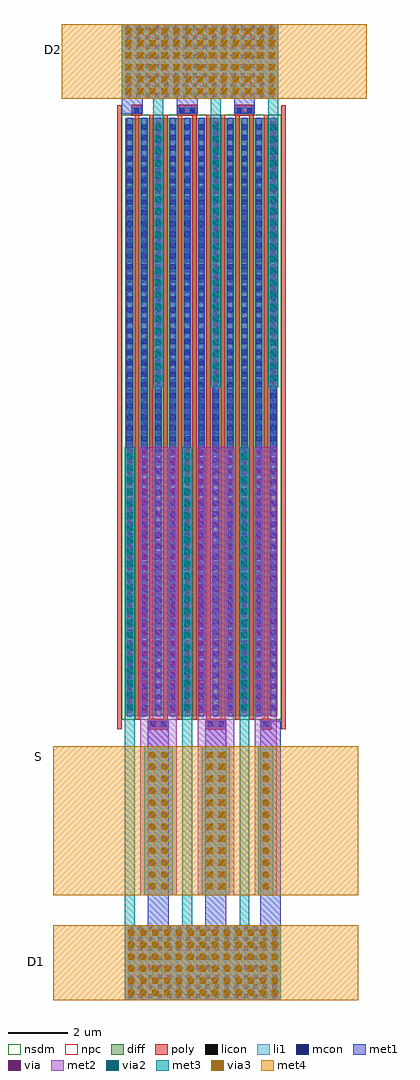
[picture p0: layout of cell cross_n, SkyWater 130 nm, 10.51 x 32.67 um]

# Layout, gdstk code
import gdstk
lib = gdstk.Library(unit=1e-6, precision=1e-09)
def R(c, l, rs):  # rectangles x0, y0, x1, y1
    for r in rs: c.add(gdstk.rectangle(r[:2], r[2:], *l))
def A(c, l, x, y, w, h, nx, ny, dx, dy):  # array of equal rectangles
    R(c, l, [(x+i*dx, y+j*dy, x+i*dx+w, y+j*dy+h) for i in range(nx) for j in range(ny)])
def P(c, l, *ps):  # polygons
    for p in ps: c.add(gdstk.Polygon(p, *l))
diff = (65, 20)
poly = (66, 20)
licon = (66, 44)
li1 = (67, 20)
mcon = (67, 44)
met1 = (68, 20)
via = (68, 44)
met2 = (69, 20)
via2 = (69, 44)
met3 = (70, 20)
via3 = (70, 44)
met4 = (71, 20)
nsdm = (93, 44)
npc = (95, 20)

cross_n = lib.new_cell('cross_n')
R(cross_n, diff, [(0,0.44,5.09,20.44)])
R(cross_n, poly, [(-0.27,0,-0.12,20.88), (0.77,0,1.44,0.33), (0.79,0,0.94,20.57), (2.69,0,3.36,0.33), (4.54,0,4.87,0.33), (4.54,0,4.87,0.33), (5.21,0,5.36,20.88), (0.31,0.31,0.46,20.57), (1.75,0.31,1.9,20.57), (2.23,0.31,2.38,20.57), (3.67,0.31,3.82,20.57), (4.15,0.31,4.3,20.57), (1.27,0.33,1.42,20.57), (2.71,0.33,2.86,20.57), (3.19,0.33,3.34,20.57), (4.63,0.33,4.78,20.57), (0.22,20.55,0.55,20.88), (1.73,20.55,2.4,20.88), (3.65,20.55,4.32,20.88)])
A(cross_n, licon, 0.06, 0.665, 0.17, 0.17, 11, 58, 0.48, 0.34)
R(cross_n, licon, [(0.85,0.08,1.02,0.25), (1.19,0.08,1.36,0.25), (2.77,0.08,2.94,0.25), (3.11,0.08,3.28,0.25), (4.62,0.08,4.79,0.25), (0.3,20.63,0.47,20.8), (1.81,20.63,1.98,20.8), (2.15,20.63,2.32,20.8), (3.73,20.63,3.9,20.8), (4.07,20.63,4.24,20.8)])
A(cross_n, li1, 0.06, 0.42, 0.17, 20.04, 11, 1, 0.48, 0)
R(cross_n, li1, [(0.77,0.08,1.44,0.25), (2.69,0.08,3.36,0.25), (4.54,0.08,4.87,0.25), (0.22,20.63,0.55,20.8), (1.73,20.63,2.4,20.8), (3.65,20.63,4.32,20.8)])
A(cross_n, mcon, 0.06, 0.635, 0.17, 0.17, 11, 55, 0.48, 0.36)
R(cross_n, mcon, [(0.84,0.08,1.01,0.25), (1.2,0.08,1.37,0.25), (2.76,0.08,2.93,0.25), (3.12,0.08,3.29,0.25), (4.62,0.08,4.79,0.25), (0.3,20.63,0.47,20.8), (1.8,20.63,1.97,20.8), (2.16,20.63,2.33,20.8), (3.72,20.63,3.89,20.8), (4.08,20.63,4.25,20.8)])
A(cross_n, met1, 0.03, 0.44, 0.23, 20, 4, 1, 0.48, 0)
A(cross_n, met1, 1.47, 0.44, 0.23, 20, 3, 1, 0.48, 0)
A(cross_n, met1, 2.43, 0.44, 0.23, 20, 3, 1, 0.48, 0)
A(cross_n, met1, 3.39, 0.44, 0.23, 20, 3, 1, 0.48, 0)
R(cross_n, met1, [(0.755,-7.818,1.455,0.28), (4.505,-7.546,5.205,0.28), (2.675,-7.533,3.375,0.28), (2.675,-2.066,3.375,0.28), (2.675,-2.066,3.375,0.28), (4.35,0.44,4.58,20.44), (4.83,0.44,5.06,20.44), (-0.115,20.6,0.585,22.946), (1.715,20.6,2.415,22.946), (3.635,20.6,4.335,22.946)])
A(cross_n, via, 0.117, -9.011, 0.15, 0.15, 16, 8, 0.32, 0.32)
A(cross_n, via, 0.07, 0.545, 0.15, 0.15, 1, 28, 0, 0.32)
A(cross_n, via, 0.55, 0.545, 0.15, 0.15, 1, 28, 0, 0.32)
A(cross_n, via, 1.51, 0.545, 0.15, 0.15, 3, 28, 0.48, 0.32)
A(cross_n, via, 3.43, 0.545, 0.15, 0.15, 3, 28, 0.48, 0.32)
A(cross_n, via, 1.03, 11.545, 0.15, 0.15, 3, 28, 1.92, 0.32)
A(cross_n, via, 0.022, 21.155, 0.15, 0.15, 16, 8, 0.32, 0.32)
P(cross_n, met2, [(0.495,-5.566),(0.495,0.44),(0.755,0.44),(0.755,9.44),(1.455,9.44),(1.455,0.44),(1.715,0.44),(1.715,-5.566)],
  [(2.415,-5.566),(2.415,0.44),(2.675,0.44),(2.675,9.44),(3.375,9.44),(3.375,0.44),(3.635,0.44),(3.635,-5.566)],
  [(4.335,-5.566),(4.335,0.44),(4.595,0.44),(4.595,9.44),(5.065,9.44),(5.065,0.44),(5.065,0.44),(5.065,-5.566),(4.805,-5.566),(4.805,-0.566),(4.595,-0.566),(4.595,-5.566)])
A(cross_n, via2, 0.092, -8.916, 0.2, 0.2, 13, 6, 0.4, 0.4)
A(cross_n, via2, 2.725, -5.366, 0.2, 0.2, 1, 12, 0, 0.4)
A(cross_n, via2, 3.125, -5.366, 0.2, 0.2, 1, 12, 0, 0.4)
A(cross_n, via2, 4.6, -5.366, 0.2, 0.2, 1, 12, 0, 0.4)
A(cross_n, via2, 0.045, 0.64, 0.2, 0.2, 3, 22, 1.92, 0.4)
A(cross_n, via2, 1.005, 11.64, 0.2, 0.2, 3, 22, 1.92, 0.4)
A(cross_n, via2, -0.003, 21.25, 0.2, 0.2, 13, 6, 0.4, 0.4)
R(cross_n, via2, [(0.805,-5.366,1.005,-5.166), (0.805,-5.366,1.005,-5.166), (1.205,-5.366,1.405,-5.166), (1.205,-5.366,1.405,-5.166), (0.805,-4.966,1.005,-4.766), (0.805,-4.966,1.005,-4.766), (1.205,-4.966,1.405,-4.766), (1.205,-4.966,1.405,-4.766), (0.805,-4.566,1.005,-4.366), (0.805,-4.566,1.005,-4.366), (1.205,-4.566,1.405,-4.366), (1.205,-4.566,1.405,-4.366), (0.805,-4.166,1.005,-3.966), (0.805,-4.166,1.005,-3.966), (1.205,-4.166,1.405,-3.966), (1.205,-4.166,1.405,-3.966), (0.805,-3.766,1.005,-3.566), (0.805,-3.766,1.005,-3.566), (1.205,-3.766,1.405,-3.566), (1.205,-3.766,1.405,-3.566), (0.805,-3.366,1.005,-3.166), (0.805,-3.366,1.005,-3.166), (1.205,-3.366,1.405,-3.166), (1.205,-3.366,1.405,-3.166), (0.805,-2.966,1.005,-2.766), (0.805,-2.966,1.005,-2.766), (1.205,-2.966,1.405,-2.766), (1.205,-2.966,1.405,-2.766), (0.805,-2.566,1.005,-2.366), (0.805,-2.566,1.005,-2.366), (1.205,-2.566,1.405,-2.366), (1.205,-2.566,1.405,-2.366), (0.805,-2.166,1.005,-1.966), (0.805,-2.166,1.005,-1.966), (1.205,-2.166,1.405,-1.966), (1.205,-2.166,1.405,-1.966), (0.805,-1.766,1.005,-1.566), (0.805,-1.766,1.005,-1.566), (1.205,-1.766,1.405,-1.566), (1.205,-1.766,1.405,-1.566), (0.805,-1.366,1.005,-1.166), (0.805,-1.366,1.005,-1.166), (1.205,-1.366,1.405,-1.166), (1.205,-1.366,1.405,-1.166), (0.805,-0.966,1.005,-0.766), (0.805,-0.966,1.005,-0.766), (1.205,-0.966,1.405,-0.766), (1.205,-0.966,1.405,-0.766)])
A(cross_n, met3, 0.94, 20.44, 0.33, 2.506, 3, 1, 1.92, 0)
R(cross_n, met3, [(-0.02,-7.43,0.31,0.44), (1.9,-7.352,2.23,0.44), (3.82,-7.249,4.15,0.44), (-0.02,-1.066,0.31,0.44), (-0.02,-1.066,0.31,0.44), (-0.02,-1.066,0.31,0.44), (1.9,-1.066,2.23,0.44), (1.9,-1.066,2.23,0.44), (1.9,-1.066,2.23,0.44), (3.82,-1.066,4.15,0.44), (3.82,-1.066,4.15,0.44), (3.82,-1.066,4.15,0.44), (0.94,20.44,1.27,21.946), (0.94,20.44,1.27,21.946), (0.94,20.44,1.27,21.946), (2.86,20.44,3.19,21.946), (2.86,20.44,3.19,21.946), (2.86,20.44,3.19,21.946), (4.78,20.44,5.11,21.946), (4.78,20.44,5.11,21.946), (4.78,20.44,5.11,21.946)])
A(cross_n, via3, 0.092, -8.916, 0.2, 0.2, 13, 6, 0.4, 0.4)
A(cross_n, via3, 2.725, -5.366, 0.2, 0.2, 1, 12, 0, 0.4)
A(cross_n, via3, 3.125, -5.366, 0.2, 0.2, 1, 12, 0, 0.4)
A(cross_n, via3, 4.6, -5.366, 0.2, 0.2, 1, 12, 0, 0.4)
A(cross_n, via3, -0.003, 21.25, 0.2, 0.2, 13, 6, 0.4, 0.4)
R(cross_n, via3, [(0.805,-5.366,1.005,-5.166), (0.805,-5.366,1.005,-5.166), (1.205,-5.366,1.405,-5.166), (1.205,-5.366,1.405,-5.166), (0.805,-4.966,1.005,-4.766), (0.805,-4.966,1.005,-4.766), (1.205,-4.966,1.405,-4.766), (1.205,-4.966,1.405,-4.766), (0.805,-4.566,1.005,-4.366), (0.805,-4.566,1.005,-4.366), (1.205,-4.566,1.405,-4.366), (1.205,-4.566,1.405,-4.366), (0.805,-4.166,1.005,-3.966), (0.805,-4.166,1.005,-3.966), (1.205,-4.166,1.405,-3.966), (1.205,-4.166,1.405,-3.966), (0.805,-3.766,1.005,-3.566), (0.805,-3.766,1.005,-3.566), (1.205,-3.766,1.405,-3.566), (1.205,-3.766,1.405,-3.566), (0.805,-3.366,1.005,-3.166), (0.805,-3.366,1.005,-3.166), (1.205,-3.366,1.405,-3.166), (1.205,-3.366,1.405,-3.166), (0.805,-2.966,1.005,-2.766), (0.805,-2.966,1.005,-2.766), (1.205,-2.966,1.405,-2.766), (1.205,-2.966,1.405,-2.766), (0.805,-2.566,1.005,-2.366), (0.805,-2.566,1.005,-2.366), (1.205,-2.566,1.405,-2.366), (1.205,-2.566,1.405,-2.366), (0.805,-2.166,1.005,-1.966), (0.805,-2.166,1.005,-1.966), (1.205,-2.166,1.405,-1.966), (1.205,-2.166,1.405,-1.966), (0.805,-1.766,1.005,-1.566), (0.805,-1.766,1.005,-1.566), (1.205,-1.766,1.405,-1.566), (1.205,-1.766,1.405,-1.566), (0.805,-1.366,1.005,-1.166), (0.805,-1.366,1.005,-1.166), (1.205,-1.366,1.405,-1.166), (1.205,-1.366,1.405,-1.166), (0.805,-0.966,1.005,-0.766), (0.805,-0.966,1.005,-0.766), (1.205,-0.966,1.405,-0.766), (1.205,-0.966,1.405,-0.766)])
R(cross_n, nsdm, [(-0.125,0.315,5.215,20.565)])
R(cross_n, npc, [(0.77,-0.02,1.44,0.35), (2.69,-0.02,3.36,0.35), (4.52,-0.02,4.89,0.35), (0.2,20.53,0.57,20.9), (1.73,20.53,2.4,20.9), (3.65,20.53,4.32,20.9)])
cross_n.add(gdstk.FlexPath([(1.105,20.44),(1.105,11.44)], 0.33, ends="flush", simple_path=True, layer=70, datatype=20))  # met3
cross_n.add(gdstk.FlexPath([(-0.02,-7.816),(5.205,-7.816)], 2.5, ends="flush", simple_path=True, layer=70, datatype=20))  # met3
cross_n.add(gdstk.FlexPath([(3.025,20.44),(3.025,11.44)], 0.33, ends="flush", simple_path=True, layer=70, datatype=20))  # met3
cross_n.add(gdstk.FlexPath([(4.945,20.44),(4.945,11.44)], 0.33, ends="flush", simple_path=True, layer=70, datatype=20))  # met3
cross_n.add(gdstk.FlexPath([(0.145,0.44),(0.145,9.44)], 0.33, ends="flush", simple_path=True, layer=70, datatype=20))  # met3
cross_n.add(gdstk.FlexPath([(2.065,0.44),(2.065,9.44)], 0.33, ends="flush", simple_path=True, layer=70, datatype=20))  # met3
cross_n.add(gdstk.FlexPath([(3.985,0.44),(3.985,9.44)], 0.33, ends="flush", simple_path=True, layer=70, datatype=20))  # met3
cross_n.add(gdstk.FlexPath([(1.105,-0.566),(1.105,-5.566)], 0.95, ends="flush", simple_path=True, layer=70, datatype=20))  # met3
cross_n.add(gdstk.FlexPath([(1.105,-0.566),(1.105,-5.566)], 0.95, ends="flush", simple_path=True, layer=70, datatype=20))  # met3
cross_n.add(gdstk.FlexPath([(3.025,-0.566),(3.025,-5.566)], 0.95, ends="flush", simple_path=True, layer=70, datatype=20))  # met3
cross_n.add(gdstk.FlexPath([(4.7,-0.566),(4.7,-5.566)], 0.5, ends="flush", simple_path=True, layer=70, datatype=20))  # met3
cross_n.add(gdstk.FlexPath([(-0.115,22.35),(5.11,22.35)], 2.5, ends="flush", simple_path=True, layer=70, datatype=20))  # met3
cross_n.add(gdstk.FlexPath([(-2.126,22.35),(8.086,22.35)], 2.5, ends="flush", simple_path=True, layer=71, datatype=20))  # met4
cross_n.add(gdstk.FlexPath([(-2.423,-3.066),(7.789,-3.066)], 5, ends="flush", simple_path=True, layer=71, datatype=20))  # met4
cross_n.add(gdstk.FlexPath([(-0.02,-7.816),(5.205,-7.816)], 2.5, ends="flush", simple_path=True, layer=71, datatype=20))  # met4
cross_n.add(gdstk.FlexPath([(1.105,-0.566),(1.105,-5.566)], 0.95, ends="flush", simple_path=True, layer=71, datatype=20))  # met4
cross_n.add(gdstk.FlexPath([(1.105,-0.566),(1.105,-5.566)], 0.95, ends="flush", simple_path=True, layer=71, datatype=20))  # met4
cross_n.add(gdstk.FlexPath([(3.025,-0.566),(3.025,-5.566)], 0.95, ends="flush", simple_path=True, layer=71, datatype=20))  # met4
cross_n.add(gdstk.FlexPath([(4.7,-0.566),(4.7,-5.566)], 0.5, ends="flush", simple_path=True, layer=71, datatype=20))  # met4
cross_n.add(gdstk.FlexPath([(-0.115,22.35),(5.11,22.35)], 2.5, ends="flush", simple_path=True, layer=71, datatype=20))  # met4
cross_n.add(gdstk.FlexPath([(-2.423,-7.816),(7.789,-7.816)], 2.5, ends="flush", simple_path=True, layer=71, datatype=20))  # met4
cross_n.add(gdstk.FlexPath([(0.625,9.44),(0.625,0.44)], 0.26, ends="flush", simple_path=True, layer=69, datatype=20))  # met2
cross_n.add(gdstk.FlexPath([(1.585,9.44),(1.585,0.44)], 0.26, ends="flush", simple_path=True, layer=69, datatype=20))  # met2
cross_n.add(gdstk.FlexPath([(2.545,9.44),(2.545,0.44)], 0.26, ends="flush", simple_path=True, layer=69, datatype=20))  # met2
cross_n.add(gdstk.FlexPath([(3.505,9.44),(3.505,0.44)], 0.26, ends="flush", simple_path=True, layer=69, datatype=20))  # met2
cross_n.add(gdstk.FlexPath([(4.465,9.44),(4.465,0.44)], 0.26, ends="flush", simple_path=True, layer=69, datatype=20))  # met2
cross_n.add(gdstk.FlexPath([(1.105,20.44),(1.105,11.44)], 0.33, ends="flush", simple_path=True, layer=69, datatype=20))  # met2
cross_n.add(gdstk.FlexPath([(-0.02,-7.816),(5.205,-7.816)], 2.5, ends="flush", simple_path=True, layer=69, datatype=20))  # met2
cross_n.add(gdstk.FlexPath([(3.025,20.44),(3.025,11.44)], 0.33, ends="flush", simple_path=True, layer=69, datatype=20))  # met2
cross_n.add(gdstk.FlexPath([(4.945,20.44),(4.945,11.44)], 0.33, ends="flush", simple_path=True, layer=69, datatype=20))  # met2
cross_n.add(gdstk.FlexPath([(0.145,0.44),(0.145,9.44)], 0.33, ends="flush", simple_path=True, layer=69, datatype=20))  # met2
cross_n.add(gdstk.FlexPath([(2.065,0.44),(2.065,9.44)], 0.33, ends="flush", simple_path=True, layer=69, datatype=20))  # met2
cross_n.add(gdstk.FlexPath([(3.985,0.44),(3.985,9.44)], 0.33, ends="flush", simple_path=True, layer=69, datatype=20))  # met2
cross_n.add(gdstk.FlexPath([(1.105,-0.566),(1.105,-5.566)], 0.95, ends="flush", simple_path=True, layer=69, datatype=20))  # met2
cross_n.add(gdstk.FlexPath([(1.105,-0.566),(1.105,-5.566)], 0.95, ends="flush", simple_path=True, layer=69, datatype=20))  # met2
cross_n.add(gdstk.FlexPath([(3.025,-0.566),(3.025,-5.566)], 0.95, ends="flush", simple_path=True, layer=69, datatype=20))  # met2
cross_n.add(gdstk.FlexPath([(4.7,-0.566),(4.7,-5.566)], 0.5, ends="flush", simple_path=True, layer=69, datatype=20))  # met2
cross_n.add(gdstk.FlexPath([(-0.115,22.35),(5.11,22.35)], 2.5, ends="flush", simple_path=True, layer=69, datatype=20))  # met2
cross_n.add(gdstk.FlexPath([(0.625,9.44),(0.625,0.44)], 0.26, ends="flush", simple_path=True, layer=68, datatype=20))  # met1
cross_n.add(gdstk.FlexPath([(1.585,9.44),(1.585,0.44)], 0.26, ends="flush", simple_path=True, layer=68, datatype=20))  # met1
cross_n.add(gdstk.FlexPath([(2.545,9.44),(2.545,0.44)], 0.26, ends="flush", simple_path=True, layer=68, datatype=20))  # met1
cross_n.add(gdstk.FlexPath([(3.505,9.44),(3.505,0.44)], 0.26, ends="flush", simple_path=True, layer=68, datatype=20))  # met1
cross_n.add(gdstk.FlexPath([(4.465,9.44),(4.465,0.44)], 0.26, ends="flush", simple_path=True, layer=68, datatype=20))  # met1
cross_n.add(gdstk.FlexPath([(1.105,20.44),(1.105,11.44)], 0.33, ends="flush", simple_path=True, layer=68, datatype=20))  # met1
cross_n.add(gdstk.FlexPath([(3.025,20.44),(3.025,11.44)], 0.33, ends="flush", simple_path=True, layer=68, datatype=20))  # met1
cross_n.add(gdstk.FlexPath([(4.945,20.44),(4.945,11.44)], 0.33, ends="flush", simple_path=True, layer=68, datatype=20))  # met1
cross_n.add(gdstk.FlexPath([(0.145,0.44),(0.145,9.44)], 0.33, ends="flush", simple_path=True, layer=68, datatype=20))  # met1
cross_n.add(gdstk.FlexPath([(2.065,0.44),(2.065,9.44)], 0.33, ends="flush", simple_path=True, layer=68, datatype=20))  # met1
cross_n.add(gdstk.FlexPath([(3.985,0.44),(3.985,9.44)], 0.33, ends="flush", simple_path=True, layer=68, datatype=20))  # met1
cross_n.add(gdstk.FlexPath([(-0.02,-7.816),(5.205,-7.816)], 2.5, ends="flush", simple_path=True, layer=68, datatype=20))  # met1
cross_n.add(gdstk.FlexPath([(-0.115,22.35),(5.11,22.35)], 2.5, ends="flush", simple_path=True, layer=68, datatype=20))  # met1
cross_n.add(gdstk.Label('S', (-2.904,-0.9), layer=69, texttype=44))
cross_n.add(gdstk.Label('D1', (-2.983,-7.768), layer=69, texttype=44))
cross_n.add(gdstk.Label('D2', (-2.394,22.745), layer=69, texttype=44))

lib.write_gds('cross_n.gds')
